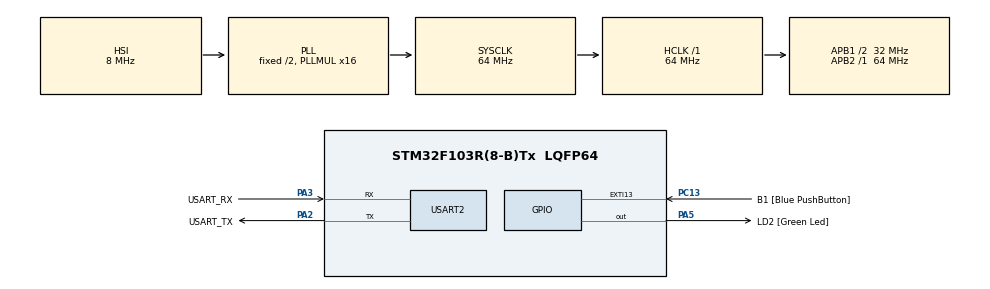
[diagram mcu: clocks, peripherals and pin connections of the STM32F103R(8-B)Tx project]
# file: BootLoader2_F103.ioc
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Mcu.Family=STM32F1
Mcu.Name=STM32F103R(8-B)Tx
Mcu.Package=LQFP64
NVIC.EXTI15_10_IRQn=true\:0\:0\:false\:false\:true\:true\:true\:true
NVIC.PriorityGroup=NVIC_PRIORITYGROUP_4
PA13.GPIO_Label=TMS
PA13.Mode=Serial_Wire
PA13.Signal=SYS_JTMS-SWDIO
PA14.GPIO_Label=TCK
PA14.Mode=Serial_Wire
PA14.Signal=SYS_JTCK-SWCLK
PA2.GPIO_Label=USART_TX
PA2.GPIO_Mode=GPIO_MODE_AF_PP
PA2.GPIO_PuPd=GPIO_NOPULL
PA2.GPIO_Speed=GPIO_SPEED_FREQ_LOW
PA2.Mode=Asynchronous
PA2.Signal=USART2_TX
PA3.GPIO_Label=USART_RX
PA3.GPIO_Mode=GPIO_MODE_AF_PP
PA3.GPIO_PuPd=GPIO_NOPULL
PA3.GPIO_Speed=GPIO_SPEED_FREQ_LOW
PA3.Mode=Asynchronous
PA3.Signal=USART2_RX
PA5.GPIO_Label=LD2 [Green Led]
PA5.GPIO_ModeDefaultOutputPP=GPIO_MODE_OUTPUT_PP
PA5.GPIO_PuPd=GPIO_NOPULL
PA5.GPIO_Speed=GPIO_SPEED_FREQ_LOW
PA5.Signal=GPIO_Output
PB3.GPIO_Label=SWO
PB3.Signal=SYS_JTDO-TRACESWO
PC13-TAMPER-RTC.GPIO_Label=B1 [Blue PushButton]
PC13-TAMPER-RTC.GPIO_PuPd=GPIO_NOPULL
PC13-TAMPER-RTC.Signal=GPXTI13
PC14-OSC32_IN.Mode=LSE-External-Oscillator
PC14-OSC32_IN.Signal=RCC_OSC32_IN
PC15-OSC32_OUT.Mode=LSE-External-Oscillator
PC15-OSC32_OUT.Signal=RCC_OSC32_OUT
PD0-OSC_IN.Mode=HSE-External-Clock-Source
PD0-OSC_IN.Signal=RCC_OSC_IN
PD1-OSC_OUT.Mode=HSE-External-Clock-Source
PD1-OSC_OUT.Signal=RCC_OSC_OUT
ProjectManager.HeapSize=0x200
ProjectManager.StackSize=0x400
ProjectManager.TargetToolchain=CMake
RCC.AHBFreq_Value=64000000
RCC.APB1CLKDivider=RCC_HCLK_DIV2
RCC.APB1Freq_Value=32000000
RCC.APB1TimFreq_Value=64000000
RCC.APB2Freq_Value=64000000
RCC.APB2TimFreq_Value=64000000
RCC.HCLKFreq_Value=64000000
RCC.PLLMUL=RCC_PLL_MUL16
RCC.RTCClockSelection=RCC_RTCCLKSOURCE_LSE
RCC.SYSCLKFreq_VALUE=64000000
RCC.SYSCLKSource=RCC_SYSCLKSOURCE_PLLCLK
RCC.USBFreq_Value=64000000
USART2.VirtualMode=VM_ASYNC
board=NUCLEO-F103RB

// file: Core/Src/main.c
/* USER CODE BEGIN Header */
/**
 ******************************************************************************
 * @file           : main.c
 * @brief          : Main program body
 ******************************************************************************
 * @attention
 *
 * Copyright (c) 2025 STMicroelectronics.
 * All rights reserved.
 *
 * This software is licensed under terms that can be found in the LICENSE file
 * in the root directory of this software component.
 * If no LICENSE file comes with this software, it is provided AS-IS.
 *
 ******************************************************************************
 */
/* USER CODE END Header */
#include "main.h"

/* USER CODE BEGIN Includes */
#include <stdio.h>
#include <string.h>
/* USER CODE END Includes */

/* USER CODE BEGIN PTD */
typedef void (*p_function)(void);
/* USER CODE END PTD */

/* USER CODE BEGIN PD */
// 메모리 맵 정의 (STM32F103CB 128KB 플래시 기준)
// Flash Page Size는 1KB 입니다.
#define FLASH_PAGE_SIZE          0x400  // 1KB

// 부트로더: 16KB (0x08000000 - 0x08003FFF)
#define BOOTLOADER_START_ADDRESS 0x08000000
// 애플리케이션 1: 32KB (0x08004000 - 0x0800BFFF)
#define APP1_START_ADDRESS       0x08004000
// 애플리케이션 2: 32KB (0x0800C000 - 0x08013FFF)
#define APP2_START_ADDRESS       0x0800C000
// 애플리케이션 3: 32KB (0x08014000 - 0x0801BFFF)
#define APP3_START_ADDRESS       0x08014000

// 부팅할 앱 선택 정보를 저장하는 공유 데이터 페이지 (Flash의 마지막 페이지 사용)
#define SHARED_DATA_PAGE_ADDRESS 0x0801FC00

// 애플리케이션 유효성 검사
// 유효한 애플리케이션은 스택 포인터가 SRAM 영역 내에 있어야 합니다.
// STM32F103CB는 20KB SRAM (0x20000000 to 0x20004FFF)을 가집니다.
#define SRAM_START 0x20000000
#define SRAM_SIZE (20 * 1024)
#define SRAM_END (SRAM_START + SRAM_SIZE)
/* USER CODE END PD */

UART_HandleTypeDef huart2;

void SystemClock_Config(void);
static void MX_GPIO_Init(void);
static void MX_USART2_UART_Init(void);
/* USER CODE BEGIN PFP */
void jump_to_application(uint32_t app_address);
uint8_t check_for_application(uint32_t app_address);
void bootloader_uart_handler(void);
// uint8_t get_boot_app_number(void);
// void set_boot_app_number(uint8_t app_num);
/* USER CODE END PFP */

/* USER CODE BEGIN 0 */
#ifdef __GNUC__
/* With GCC, small printf (option LD Linker->Libraries->Small printf
   set to 'Yes') calls __io_putchar() */
#define PUTCHAR_PROTOTYPE int __io_putchar(int ch)
#else
#define PUTCHAR_PROTOTYPE int fputc(int ch, FILE *f)
#endif /* __GNUC__ */

/**
 * @brief  Retargets the C library printf function to the USART.
 * @param  None
 * @retval None
 */
PUTCHAR_PROTOTYPE
{
  /* Place your implementation of fputc here */
  /* e.g. write a character to the USART2 and Loop until the end of transmission
   */
  HAL_UART_Transmit(&huart2, (uint8_t *)&ch, 1, 0xFFFF);
  return ch;
}

/**
 * @brief  주어진 주소에 유효한 애플리케이션이 있는지 확인합니다.
 * @param  app_address: 애플리케이션의 시작 주소.
 * @retval 유효하면 1, 그렇지 않으면 0.
 */
uint8_t check_for_application(uint32_t app_address)
{
  uint32_t stack_pointer = *(__IO uint32_t *)app_address;
  if (stack_pointer > SRAM_START && stack_pointer <= SRAM_END)
  {
    return 1; // 유효한 스택 포인터
  }
  return 0; // 유효하지 않은 스택 포인터
}

/**
 * @brief  애플리케이션으로 점프합니다.
 * @param  app_address: 애플리케이션의 시작 주소.
 * @retval None
 */
void jump_to_application(uint32_t app_address)
{
  p_function p_jump_to_app;

  // 1. 부트로더에서 사용한 모든 주변 장치들을 비활성화합니다.
  // 이는 해당 주변장치의 클럭을 끄고, 인터럽트를 비활성화하는 등의 작업을 포함합니다.
  HAL_UART_DeInit(&huart2);
  HAL_GPIO_DeInit(LD2_GPIO_Port, LD2_Pin);
  HAL_GPIO_DeInit(B1_GPIO_Port, B1_Pin);

  // 2. HAL 라이브러리를 DeInit하고 Systick을 중지합니다.
  // 이 함수는 Systick 인터럽트를 비활성화하고 uwTick 변수를 0으로 초기화합니다.
  HAL_DeInit();

  // 3. RCC(Reset and Clock Control)를 초기 상태로 되돌립니다.
  // 이렇게 하면 애플리케이션이 마치 리셋 직후처럼 깨끗한 클럭 설정에서 시작할 수 있습니다.
  // HSI가 활성화되고, PLL은 비활성화됩니다.
  HAL_RCC_DeInit();

  // 4. Cortex-M 코어의 모든 마스크 가능한 인터럽트를 비활성화합니다.
  // 이는 애플리케이션으로 점프하기 전 예기치 않은 인터럽트 발생을 방지하는 가장 확실한 방법입니다.
  __disable_irq();

  // 5. 벡터 테이블 오프셋 레지스터(VTOR)를 애플리케이션의 벡터 테이블 주소로 설정합니다.
  SCB->VTOR = app_address;

  // 6. 메인 스택 포인터(MSP)를 애플리케이션의 초기 스택 포인터로 설정합니다.
  __set_MSP(*(__IO uint32_t *)app_address);

  // 7. 애플리케이션의 리셋 핸들러 주소를 가져와 점프합니다.
  p_jump_to_app = (p_function)(*(__IO uint32_t *)(app_address + 4));
  p_jump_to_app();

  // 이 부분은 실행되지 않아야 합니다.
  while (1)
    ;
}

/**
 * @brief  부트로더 UART 명령어 핸들러입니다.
 * @retval None
 */
void bootloader_uart_handler(void)
{
  // 이 함수는 UART를 통해 새로운 펌웨어를 수신하고,
  // 플래시에 쓰는 로직을 구현해야 합니다. (예: Y-Modem 프로토콜 사용)
  // 현재는 구현되지 않은 상태로, LED를 토글하며 대기합니다.
  printf("Bootloader command handler is not yet implemented.\r\n");
  printf("System Halted.\r\n");
  while (1)
  {
    HAL_GPIO_TogglePin(LD2_GPIO_Port, LD2_Pin);
    HAL_Delay(500);
  }
}
/* USER CODE END 0 */

int main(void)
{
  /* USER CODE BEGIN 1 */
  uint32_t app_address_to_boot = 0;
  uint8_t app_to_boot = 1; // 기본적으로 App 1을 부팅 시도
  /* USER CODE END 1 */

  /* MCU Configuration--------------------------------------------------------*/

  /* Reset of all peripherals, Initializes the Flash interface and the Systick.
   */
  HAL_Init();

  /* Configure the system clock */
  SystemClock_Config();

  /* Initialize all configured peripherals */
  MX_GPIO_Init();
  MX_USART2_UART_Init();
  /* USER CODE BEGIN 2 */
  printf("\r\n\r\nSTM32 Multi-App Bootloader\r\n");

  uint8_t boot_cmd = 0;
  HAL_StatusTypeDef status;

  printf("Send '1'-'3' to boot app, or 'b' for bootloader mode (10s timeout).\r\n");

  // 2초 동안 'b' 명령어를 기다립니다.
  status = HAL_UART_Receive(&huart2, &boot_cmd, 1, 10000);

  if (status == HAL_OK)
  {
    if (boot_cmd == 'b')
    {
      // 부트로더 모드로 진입
      printf("Entering bootloader mode.\r\n");
      bootloader_uart_handler(); // 이 함수는 무한 루프입니다.
    }
    else if ((boot_cmd >= '1') && (boot_cmd <= '3'))
    {
      // 사용자가 선택한 앱으로 부팅
      app_to_boot = boot_cmd - '0';
      printf("User input '%c', selecting App %d to boot.\r\n", boot_cmd, app_to_boot);
    }
  }

  // 기본 부팅 절차 (타임아웃 또는 유효하지 않은 입력 시 기본 앱으로 부팅)
  printf("Attempting to boot application...\r\n");
  // TODO: 공유 메모리에서 어떤 앱을 부팅할지 읽어오는
  // 로직(get_boot_app_number)을 구현해야 합니다. app_to_boot =
  // get_boot_app_number();
  printf("Boot choice: App %d\r\n", app_to_boot);

  switch (app_to_boot)
  {
  case 1:
    printf("Selected App 1. Address: 0x%08lX\r\n", APP1_START_ADDRESS);
    app_address_to_boot = APP1_START_ADDRESS;
    break;
  case 2:
    printf("Selected App 2. Address: 0x%08lX\r\n", APP2_START_ADDRESS);
    app_address_to_boot = APP2_START_ADDRESS;
    break;
  case 3:
    printf("Selected App 3. Address: 0x%08lX\r\n", APP3_START_ADDRESS);
    app_address_to_boot = APP3_START_ADDRESS;
    break;
  default:
    app_address_to_boot = 0;
    break; // 발생하면 안됨
  }

  if (app_address_to_boot != 0 &&
      check_for_application(app_address_to_boot))
  {
    printf("Valid application found. Jumping to 0x%08lX\r\n",
           app_address_to_boot);
    jump_to_application(app_address_to_boot);
  }
  else
  {
    printf("No valid application found at selected slot. Entering bootloader "
           "mode.\r\n");
    bootloader_uart_handler(); // 이 함수는 무한 루프입니다.
  }
  /* USER CODE END 2 */

  /* Infinite loop */
  while (1)
  {

    /* USER CODE BEGIN 3 */
    // 이 부분은 실행되지 않아야 합니다.
  }
  /* USER CODE END 3 */
}

void SystemClock_Config(void)
{
  RCC_OscInitTypeDef RCC_OscInitStruct = {0};
  RCC_ClkInitTypeDef RCC_ClkInitStruct = {0};

  /** Initializes the RCC Oscillators according to the specified parameters
   * in the RCC_OscInitTypeDef structure.
   */
  RCC_OscInitStruct.OscillatorType = RCC_OSCILLATORTYPE_HSI;
  RCC_OscInitStruct.HSIState = RCC_HSI_ON;
  RCC_OscInitStruct.HSICalibrationValue = RCC_HSICALIBRATION_DEFAULT;
  RCC_OscInitStruct.PLL.PLLState = RCC_PLL_ON;
  RCC_OscInitStruct.PLL.PLLSource = RCC_PLLSOURCE_HSI_DIV2;
  RCC_OscInitStruct.PLL.PLLMUL = RCC_PLL_MUL16;
  if (HAL_RCC_OscConfig(&RCC_OscInitStruct) != HAL_OK)
  {
    Error_Handler();
  }

  /** Initializes the CPU, AHB and APB buses clocks
   */
  RCC_ClkInitStruct.ClockType = RCC_CLOCKTYPE_HCLK | RCC_CLOCKTYPE_SYSCLK |
                                RCC_CLOCKTYPE_PCLK1 | RCC_CLOCKTYPE_PCLK2;
  RCC_ClkInitStruct.SYSCLKSource = RCC_SYSCLKSOURCE_PLLCLK;
  RCC_ClkInitStruct.AHBCLKDivider = RCC_SYSCLK_DIV1;
  RCC_ClkInitStruct.APB1CLKDivider = RCC_HCLK_DIV2;
  RCC_ClkInitStruct.APB2CLKDivider = RCC_HCLK_DIV1;

  if (HAL_RCC_ClockConfig(&RCC_ClkInitStruct, FLASH_LATENCY_2) != HAL_OK)
  {
    Error_Handler();
  }
}

static void MX_USART2_UART_Init(void)
{

  huart2.Instance = USART2;
  huart2.Init.BaudRate = 115200;
  huart2.Init.WordLength = UART_WORDLENGTH_8B;
  huart2.Init.StopBits = UART_STOPBITS_1;
  huart2.Init.Parity = UART_PARITY_NONE;
  huart2.Init.Mode = UART_MODE_TX_RX;
  huart2.Init.HwFlowCtl = UART_HWCONTROL_NONE;
  huart2.Init.OverSampling = UART_OVERSAMPLING_16;
  if (HAL_UART_Init(&huart2) != HAL_OK)
  {
    Error_Handler();
  }
}

static void MX_GPIO_Init(void)
{
  GPIO_InitTypeDef GPIO_InitStruct = {0};

  /* GPIO Ports Clock Enable */
  __HAL_RCC_GPIOC_CLK_ENABLE();
  __HAL_RCC_GPIOD_CLK_ENABLE();
  __HAL_RCC_GPIOA_CLK_ENABLE();
  __HAL_RCC_GPIOB_CLK_ENABLE();

  /*Configure GPIO pin Output Level */
  HAL_GPIO_WritePin(LD2_GPIO_Port, LD2_Pin, GPIO_PIN_RESET);

  /*Configure GPIO pin : B1_Pin */
  GPIO_InitStruct.Pin = B1_Pin;
  GPIO_InitStruct.Mode = GPIO_MODE_IT_RISING;
  GPIO_InitStruct.Pull = GPIO_NOPULL;
  HAL_GPIO_Init(B1_GPIO_Port, &GPIO_InitStruct);

  /*Configure GPIO pin : LD2_Pin */
  GPIO_InitStruct.Pin = LD2_Pin;
  GPIO_InitStruct.Mode = GPIO_MODE_OUTPUT_PP;
  GPIO_InitStruct.Pull = GPIO_NOPULL;
  GPIO_InitStruct.Speed = GPIO_SPEED_FREQ_LOW;
  HAL_GPIO_Init(LD2_GPIO_Port, &GPIO_InitStruct);

  /* EXTI interrupt init*/
  HAL_NVIC_SetPriority(EXTI15_10_IRQn, 0, 0);
  HAL_NVIC_EnableIRQ(EXTI15_10_IRQn);

}

void Error_Handler(void)
{
  __disable_irq();
  while (1)
  {
  }
}
#ifdef USE_FULL_ASSERT
/**
 * @brief  Reports the name of the source file and the source line number
 *         where the assert_param error has occurred.
 * @param  file: pointer to the source file name
 * @param  line: assert_param error line source number
 * @retval None
 */
void assert_failed(uint8_t *file, uint32_t line)
{
  /* USER CODE BEGIN 6 */
  /* User can add his own implementation to report the file name and line
     number, ex: printf("Wrong parameters value: file %s on line %d\r\n", file,
     line) */
  /* USER CODE END 6 */
}
#endif /* USE_FULL_ASSERT */
